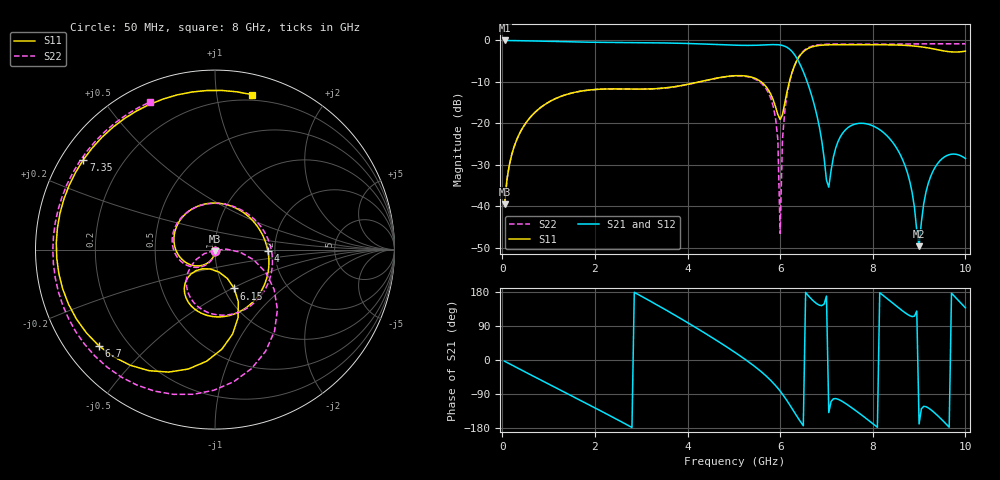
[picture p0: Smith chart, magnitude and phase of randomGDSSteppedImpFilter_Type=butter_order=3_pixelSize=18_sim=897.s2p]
! freq	dB(S11)	phase(S11)	dB(S12)	phase(S12)
!  dB(S21)	phase(S21)	dB(S22)	phase(S22)
!S-par simulation data
#  GHz  S  DB  R 50
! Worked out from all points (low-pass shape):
!   200 points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, 50 MHz to 10 GHz, reference 50 ohm
!   highest |S21| = -0.01 dB at 50 MHz (marker M1); lowest = -49.7 dB at 9 GHz (marker M2)
!   |S21| within 3 dB of the highest: start of sweep to 6.28 GHz
!   lowest |S11| = -39.6 dB at 50 MHz (marker M3), VSWR 1.02, Z = 49.9 - j1.05 ohm
!   |S11| at or under -10 dB: start of sweep to 4.251 GHz; 5.59 GHz to 6.199 GHz (608.4 MHz wide, 10.3 % of centre)
!   |S22| runs from -46.6 to -0.8 dB; largest |S21 - S12| = 0
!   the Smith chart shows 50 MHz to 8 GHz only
!   S11 on the Smith chart (normalised r, x): 50 MHz: 1.00, -0.02; 4 GHz: 1.84, -0.03; 6.15 GHz: 1.12, -0.51; 6.7 GHz: 0.10, -0.36; 7.35 GHz: 0.06, +0.31; 8 GHz: 0.15, +1.25
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0.05  -39.59 -92.4  -0.01 -3.3  -0.01 -3.3  -39.58 -92.1
0.5  -20.06 -123.9  -0.09 -32.0  -0.09 -32.0  -20.06 -120.9
1.75  -12.15 152.8  -0.41 -110.5  -0.41 -110.5  -12.15 164.6
2.65  -11.72 91.6  -0.51 -168.2  -0.51 -168.2  -11.74 110.8
3.4  -11.57 39.6  -0.59 141.3  -0.59 141.3  -11.61 62.0
4  -10.60 -1.7  -0.73 98.7  -0.73 98.7  -10.65 18.4
5.05  -8.50 -77.4  -1.16 18.0  -1.16 18.0  -8.57 -65.9
5.85  -14.34 -134.6  -1.01 -60.6  -1.01 -60.6  -15.88 -145.9
5.95  -17.89 -123.0  -1.04 -74.5  -1.04 -74.5  -23.91 -159.1
6  -19.07 -103.3  -1.10 -82.0  -1.10 -82.0  -46.56 -109.7
6.05  -17.93 -80.0  -1.21 -90.1  -1.21 -90.1  -23.85 2.2
6.15  -12.33 -63.6  -1.68 -107.7  -1.68 -107.7  -13.07 -14.6
6.7  -1.51 -140.4  -14.06 157.9  -14.06 157.9  -1.34 -113.2
7.05  -1.06 177.5  -35.41 -138.6  -35.41 -138.6  -0.89 -154.8
7.35  -1.03 145.7  -22.37 -109.9  -22.37 -109.9  -0.89 175.3
8  -1.04 76.6  -20.61 -167.9  -20.61 -167.9  -0.93 113.8
8.35  -1.06 36.6  -23.51 157.9  -23.51 157.9  -0.90 80.6
8.75  -1.22 -13.1  -32.01 120.3  -32.01 120.3  -0.85 43.7
9  -1.48 -47.8  -49.66 -168.8  -49.66 -168.8  -0.83 22.1
9.2  -1.81 -79.0  -34.43 -126.4  -34.43 -126.4  -0.81 5.9
9.6  -2.65 -154.9  -27.78 -170.9  -27.78 -170.9  -0.80 -23.4
10  -2.59 119.3  -28.49 137.6  -28.49 137.6  -0.82 -48.5
